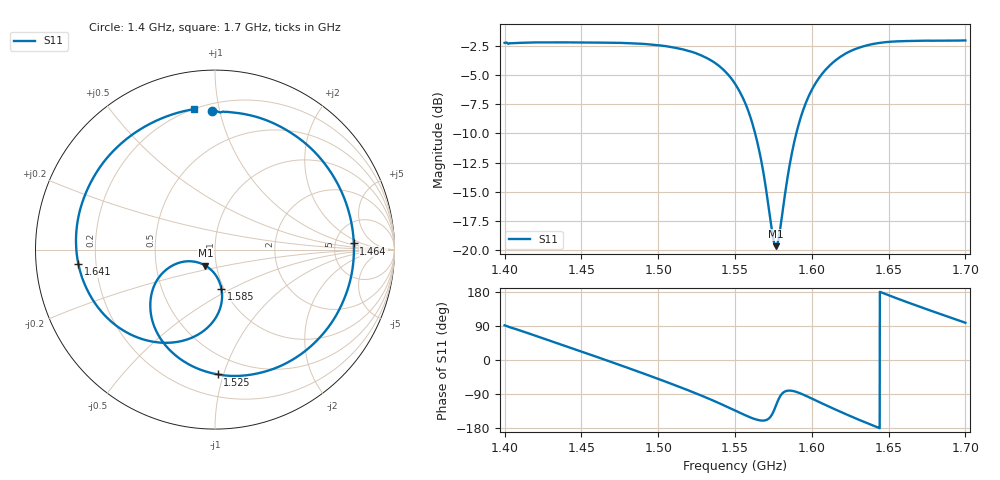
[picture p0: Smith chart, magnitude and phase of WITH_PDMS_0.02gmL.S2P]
!Keysight Technologies,E5063A,MY54503975,A.05.08
!Date: Fri Mar 07 04:26:40 2025
!Data & Calibration Information:
!Freq	S11:NONE(--)	S21:RESPT(ON)	S12:NONE(--)	S22:NONE(--)
# Hz S RI R 50
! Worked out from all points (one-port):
!   3001 points, 1.4 GHz to 1.7 GHz, reference 50 ohm
!   lowest |S11| = -19.7 dB at 1.577 GHz (marker M1), VSWR 1.23, Z = 44.3 - j7.99 ohm
!   |S11| at or under -10 dB: 1.563 GHz to 1.59 GHz (26.78 MHz wide, 1.7 % of centre)
!   S11 on the Smith chart (normalised r, x): 1.4 GHz: 0.25, +0.94; 1.464 GHz: 7.63, +1.31; 1.525 GHz: 0.35, -0.96; 1.585 GHz: 0.97, -0.44; 1.641 GHz: 0.13, -0.05; 1.7 GHz: 0.20, +0.84
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1.4e9  -0.0191 0.7722  -0 -0  0 0  0 0
1.4239e9  0.4016 0.6641  0 -0  0 0  0 0
1.45e9  0.7171 0.2939  -0 0  0 0  0 0
1.464e9  0.7734 0.0343  -0 0  0 0  0 0
1.4818e9  0.7083 -0.3009  -0 0  0 0  0 0
1.5e9  0.4867 -0.577  0 -0  0 0  0 0
1.5129e9  0.2563 -0.6855  0 0  0 0  0 0
1.525e9  0.0142 -0.6954  0 0  0 0  0 0
1.5371e9  -0.21 -0.5972  0 0  0 0  0 0
1.55e9  -0.354 -0.3759  0 -0  0 0  0 0
1.5634e9  -0.2853 -0.1239  0 0  0 0  0 0
1.5766e9  -0.0534 -0.0893  0 0  0 0  0 0
1.585e9  0.0355 -0.2174  0 0  0 0  0 0
1.5917e9  0.0198 -0.3498  0 0  0 0  0 0
1.6e9  -0.0988 -0.4759  0 -0  0 0  0 0
1.6086e9  -0.2778 -0.5194  0 -0  0 0  0 0
1.6177e9  -0.4707 -0.4725  -0 0  0 0  0 0
1.6293e9  -0.6642 -0.3051  -0 0  0 0  0 0
1.6405e9  -0.7613 -0.0804  -0 -0  0 0  0 0
1.65e9  -0.7703 0.1233  -0 -0  0 0  0 0
1.6763e9  -0.526 0.5883  -0 -0  0 0  0 0
1.7e9  -0.1144 0.7828  -0 -0  0 0  0 0
